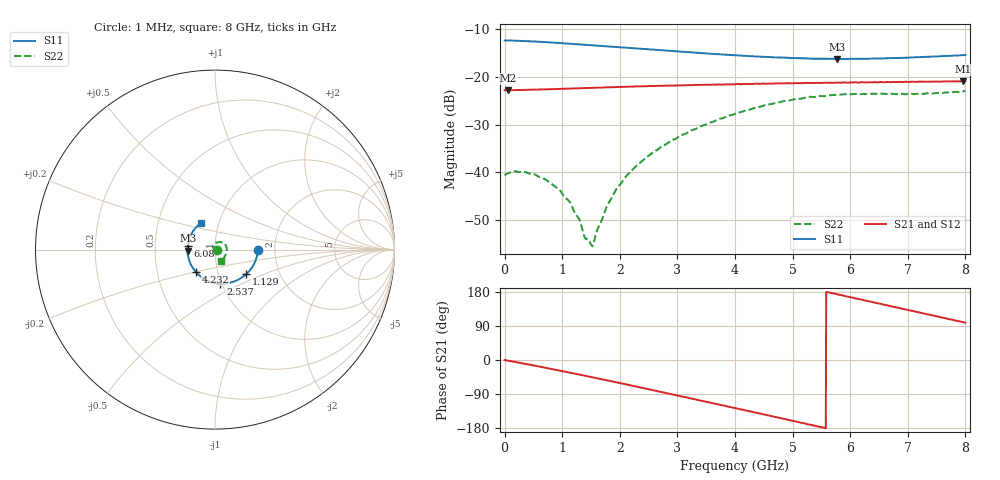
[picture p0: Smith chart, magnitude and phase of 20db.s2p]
# Hz S DB R 50
! CMT, CMT804U, 21380002, 24.2.2/4
! Date: 25/11/2025 13:47:42
! Data: Format (Calibration Info)
! Freq	S11:dB/Ang(F2)	S21:dB/Ang(F2)	S12:dB/Ang(F2)	S22:dB/Ang(F2)
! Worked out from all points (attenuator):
!   1001 points, 1 MHz to 8 GHz, reference 50 ohm
!   highest |S21| = -20.95 dB at 7.96 GHz (marker M1); lowest = -22.8 dB at 56.99 MHz (marker M2)
!   lowest |S11| = -16.3 dB at 5.768 GHz (marker M3), VSWR 1.36, Z = 36.8 - j0.495 ohm
!   |S11| at or under -10 dB: start of sweep to end of sweep
!   |S22| runs from -55.4 to -23.0 dB; largest |S21 - S12| = 0.0024
!   S11 on the Smith chart (normalised r, x): 1 MHz: 1.63, -0.00; 1.129 GHz: 1.35, -0.39; 2.537 GHz: 0.99, -0.39; 4.232 GHz: 0.78, -0.20; 6.08 GHz: 0.74, +0.03; 8 GHz: 0.82, +0.25
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1000000  -12.45 -0.1  -22.83 -0.1  -22.83 -0.1  -40.59 -0.5
5.6993e7  -12.45 -2.2  -22.83 -1.6  -22.83 -1.6  -40.21 1.9
3.36958e8  -12.57 -12.3  -22.78 -9.5  -22.78 -9.5  -39.85 -6.0
6.80915e8  -12.78 -24.0  -22.67 -19.6  -22.67 -19.5  -41.29 -18.9
1.128859e9  -13.11 -38.6  -22.49 -33.2  -22.49 -33.1  -46.11 -41.8
1.336833e9  -13.29 -45.1  -22.41 -39.7  -22.40 -39.6  -51.29 -63.8
1.408824e9  -13.35 -47.4  -22.38 -41.9  -22.36 -41.8  -53.75 -88.2
1.528809e9  -13.45 -51.0  -22.34 -45.7  -22.32 -45.6  -55.38 -134.7
1.768779e9  -13.65 -58.4  -22.24 -53.4  -22.22 -53.3  -47.25 168.2
1.944757e9  -13.81 -63.6  -22.18 -59.0  -22.15 -58.9  -43.40 154.0
2.24072e9  -14.07 -72.4  -22.07 -68.7  -22.06 -68.4  -39.20 138.4
2.536683e9  -14.32 -81.1  -21.96 -78.4  -21.95 -78.2  -36.16 125.9
2.672666e9  -14.44 -85.1  -21.92 -82.9  -21.92 -82.6  -35.07 120.3
3.248594e9  -14.94 -101.8  -21.78 -101.9  -21.72 -101.5  -31.20 99.3
4.0005e9  -15.53 -123.9  -21.60 -126.7  -21.51 -126.6  -27.76 73.3
4.232471e9  -15.70 -130.7  -21.53 -134.6  -21.46 -134.3  -26.91 66.4
5.336333e9  -16.25 -164.4  -21.32 -171.8  -21.20 -171.6  -24.24 34.3
5.768279e9  -16.34 -177.5  -21.23 173.5  -21.09 173.7  -23.78 20.4
6.08024e9  -16.28 172.8  -21.17 163.2  -21.08 163.1  -23.61 10.6
6.672166e9  -16.14 154.9  -21.14 143.1  -21.00 142.8  -23.61 -10.3
7.960005e9  -15.50 118.5  -20.95 99.8  -20.95 99.0  -23.04 -61.8
8e9  -15.51 117.5  -20.98 98.2  -20.84 97.7  -23.00 -62.5
